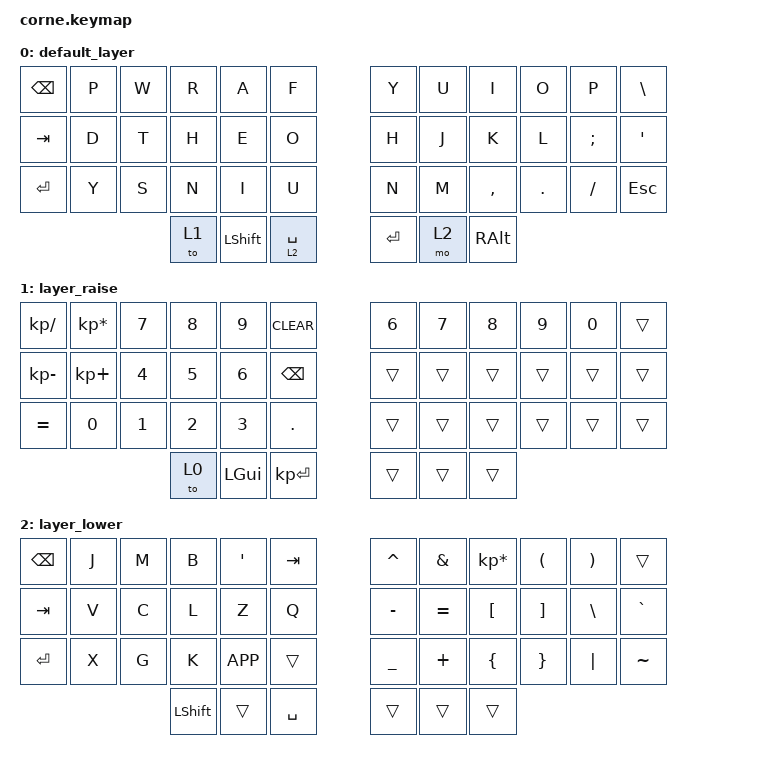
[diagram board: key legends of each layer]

/*
 * Copyright (c) 2020 The ZMK Contributors
 *
 * SPDX-License-Identifier: MIT
 */


/* THIS FILE WAS GENERATED!
 *
 * This file was generated automatically. You may or may not want to
 * edit it directly.
 */

#include <behaviors.dtsi>
#include <dt-bindings/zmk/keys.h>

/ {
    keymap {
        compatible = "zmk,keymap";


        default_layer {
            bindings = <
  &kp BSPC   &kp P   &kp W   &kp R           &kp A        &kp F            &kp Y   &kp U      &kp I    &kp O     &kp P  &kp BSLH
   &kp TAB   &kp D   &kp T   &kp H           &kp E        &kp O            &kp H   &kp J      &kp K    &kp L  &kp SEMI  &kp APOS
 &kp ENTER   &kp Y   &kp S   &kp N           &kp I        &kp U            &kp N   &kp M  &kp COMMA  &kp DOT  &kp FSLH   &kp ESC
                             &to 1  &kp LEFT_SHIFT  &lt 2 SPACE          &kp RET   &mo 2   &kp RALT
            >;
        };

        layer_raise {
            bindings = <
   &kp KP_DIVIDE  &kp KP_MULTIPLY  &kp N7  &kp N8    &kp N9     &kp CLEAR          &kp N6  &kp N7  &kp N8  &kp N9  &kp N0  &trans
 &kp KP_SUBTRACT      &kp KP_PLUS  &kp N4  &kp N5    &kp N6      &kp BSPC          &trans  &trans  &trans  &trans  &trans  &trans
       &kp EQUAL           &kp N0  &kp N1  &kp N2    &kp N3    &kp PERIOD          &trans  &trans  &trans  &trans  &trans  &trans
                                            &to 0  &kp LGUI  &kp KP_ENTER          &trans  &trans  &trans
            >;
        };

        layer_lower {
            bindings = <
  &kp BSPC   &kp J   &kp M       &kp B  &kp APOSTROPHE    &kp TAB          &kp CARET   &kp AMPS  &kp KP_MULTIPLY  &kp LPAR  &kp RPAR     &trans
   &kp TAB   &kp V   &kp C       &kp L           &kp Z      &kp Q          &kp MINUS  &kp EQUAL         &kp LBKT  &kp RBKT  &kp BSLH  &kp GRAVE
 &kp ENTER   &kp X   &kp G       &kp K       &kp K_APP     &trans          &kp UNDER   &kp PLUS         &kp LBRC  &kp RBRC  &kp PIPE  &kp TILDE
                            &kp LSHIFT          &trans  &kp SPACE             &trans     &trans           &trans
            >;
        };

    };
};
